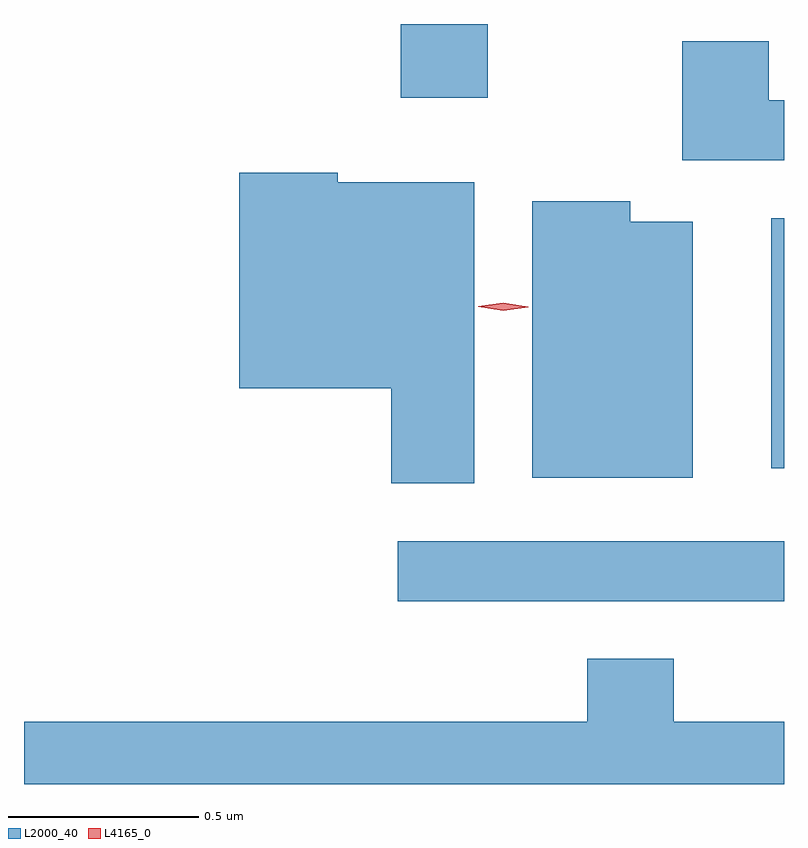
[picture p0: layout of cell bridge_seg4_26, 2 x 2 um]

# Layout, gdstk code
import gdstk
lib = gdstk.Library(unit=1e-6, precision=1e-09)
def R(c, l, rs):  # rectangles x0, y0, x1, y1
    for r in rs: c.add(gdstk.rectangle(r[:2], r[2:], *l))
def P(c, l, *ps):  # polygons
    for p in ps: c.add(gdstk.Polygon(p, *l))
L2000_40 = (2000, 40)
L4165_0 = (4165, 0)

bridge_seg4_26 = lib.new_cell('bridge_seg4_26')
R(bridge_seg4_26, L2000_40, [(1247.983,1264.241,1248.999,1264.399), (1248.966,1264.591,1248.999,1265.249), (1247.991,1265.566,1248.219,1265.76)])
P(bridge_seg4_26, L2000_40, [(1248.999,1265.559),(1248.959,1265.559),(1248.959,1265.714),(1248.731,1265.714),(1248.731,1265.401),(1248.999,1265.401)],
  [(1248.184,1265.344),(1247.824,1265.344),(1247.824,1265.369),(1247.566,1265.369),(1247.566,1264.801),(1247.966,1264.801),(1247.966,1264.551),(1248.184,1264.551)],
  [(1248.759,1265.239),(1248.594,1265.239),(1248.594,1265.294),(1248.336,1265.294),(1248.336,1264.566),(1248.759,1264.566)],
  [(1248.999,1263.924),(1248.709,1263.924),(1248.709,1264.089),(1248.481,1264.089),(1248.481,1263.924),(1246.999,1263.924),(1246.999,1263.76),(1248.999,1263.76)])
P(bridge_seg4_26, L4165_0, [(1248.26,1265.006),(1248.194,1265.016),(1248.194,1265.017),(1248.194,1265.017),(1248.26,1265.026),(1248.326,1265.016),(1248.326,1265.016),(1248.326,1265.015)])

lib.write_gds('bridge_seg4_26.gds')
